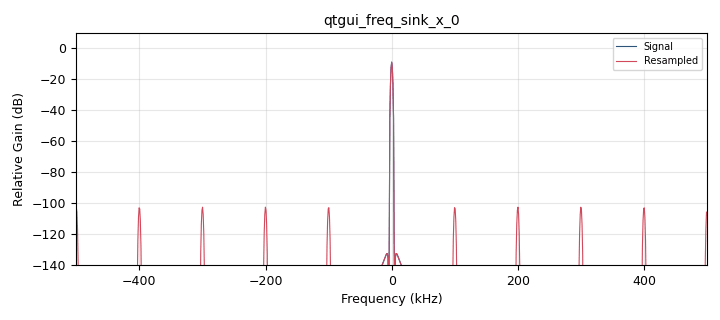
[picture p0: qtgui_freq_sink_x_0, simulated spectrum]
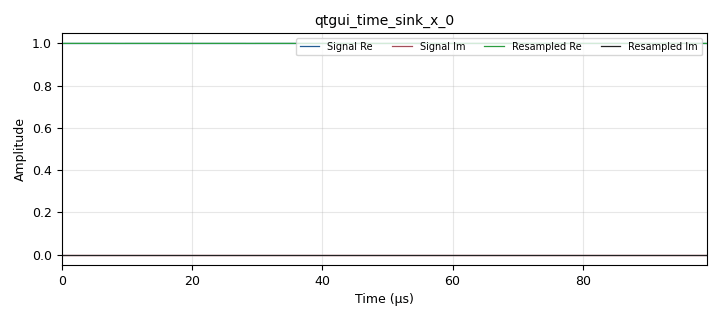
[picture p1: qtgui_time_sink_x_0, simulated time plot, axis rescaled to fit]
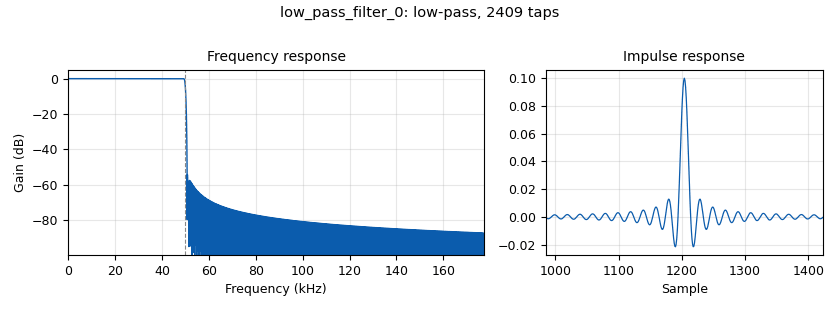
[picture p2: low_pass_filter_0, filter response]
options:
  parameters:
    author: jason
    generate_options: qt_gui
    generator_class_name: PythonQtGuiGenerator
    generator_module: gnuradio.grc.workflows.python_qt_gui
    id: lesson06hw2_ComplexReSampling
    output_language: python
    title: sampling
  states: {}

blocks:
- name: freq
  id: variable_qtgui_range
  parameters:
    start: '-2e6'
    step: '1'
    stop: 2e6
    value: '0'
  states: {}
- name: samp_rate
  id: variable
  parameters:
    value: 1e6
  states: {}
- name: upsample
  id: variable
  parameters:
    comment: |-
      resampling factor used to draw the
      "continuous" signal between the samples
    value: '10'
  states: {}
- name: analog_sig_source_x_0
  id: analog_sig_source_x
  parameters:
    amp: '1'
    freq: freq
    offset: '0'
    phase: '0'
    samp_rate: samp_rate
    type: complex
    waveform: analog.GR_COS_WAVE
  states: {}
- name: blocks_keep_one_in_n_0
  id: blocks_keep_one_in_n
  parameters:
    n: upsample
    type: complex
  states: {}
- name: blocks_throttle_0
  id: blocks_throttle2
  parameters:
    samples_per_second: samp_rate
    type: complex
  states: {}
- name: interp_fir_filter_xxx_0
  id: interp_fir_filter_xxx
  parameters:
    interp: upsample
    taps: '[upsample]+[0]*(upsample-1)'
    type: ccc
  states: {}
- name: low_pass_filter_0
  id: low_pass_filter
  parameters:
    cutoff_freq: 50e3
    decim: '1'
    gain: '1'
    samp_rate: samp_rate
    type: fir_filter_ccf
    width: 1e3
    win: window.WIN_HAMMING
  states: {}
- name: qtgui_freq_sink_x_0
  id: qtgui_freq_sink_x
  parameters:
    bw: samp_rate
    fc: '0'
    fftsize: '1024'
    label1: '"Signal"'
    label2: '"Resampled"'
    nconnections: '2'
    type: complex
  states: {}
- name: qtgui_time_sink_x_0
  id: qtgui_time_sink_x
  parameters:
    label1: Signal Re
    label2: Signal Im
    label3: Resampled Re
    label4: Resampled Im
    nconnections: '2'
    size: '100'
    srate: samp_rate
    type: complex
  states: {}

connections:
- [analog_sig_source_x_0, '0', blocks_throttle_0, '0']
- [blocks_keep_one_in_n_0, '0', interp_fir_filter_xxx_0, '0']
- [blocks_throttle_0, '0', blocks_keep_one_in_n_0, '0']
- [blocks_throttle_0, '0', qtgui_freq_sink_x_0, '0']
- [blocks_throttle_0, '0', qtgui_time_sink_x_0, '0']
- [interp_fir_filter_xxx_0, '0', low_pass_filter_0, '0']
- [low_pass_filter_0, '0', qtgui_freq_sink_x_0, '1']
- [low_pass_filter_0, '0', qtgui_time_sink_x_0, '1']

metadata:
  file_format: 1
  grc_version: 3.10.12.0
